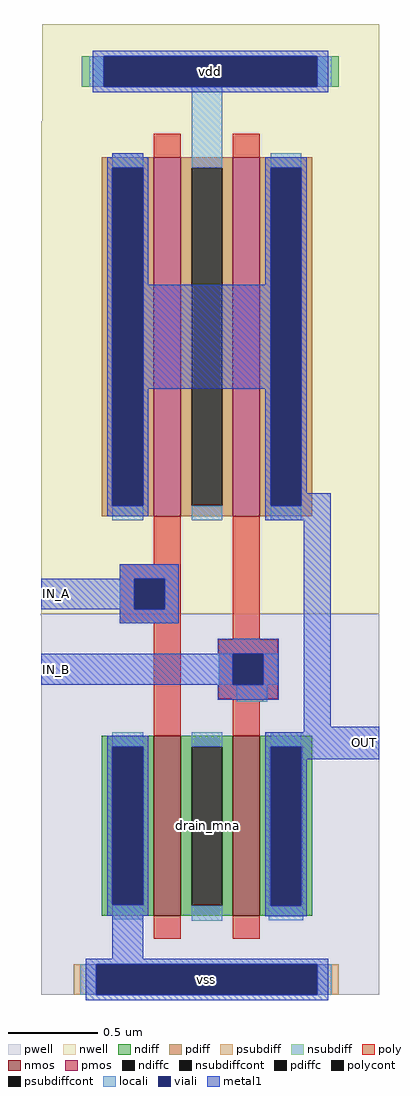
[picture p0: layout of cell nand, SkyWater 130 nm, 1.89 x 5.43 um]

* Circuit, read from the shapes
.subckt nand IN_A IN_B OUT vdd vss
XM1 drain_mna IN_A vss vss sky130_fd_pr__nfet_01v8 w=1 l=0.15
XM2 OUT IN_B drain_mna vss sky130_fd_pr__nfet_01v8 w=1 l=0.15
XM3 vdd IN_A OUT vdd sky130_fd_pr__pfet_01v8 w=2 l=0.15
XM4 OUT IN_B vdd vdd sky130_fd_pr__pfet_01v8 w=2 l=0.15
.ends

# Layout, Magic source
magic
tech sky130A
magscale 1 2
<< nwell >>
rect -1198 1512 -823 1620
rect -1199 964 -823 1512
<< pwell >>
rect -1200 962 -823 964
rect -1199 540 -823 962
<< nmos >>
rect -1074 628 -1044 828
rect -986 628 -956 828
<< ndiff >>
rect -1132 816 -1074 828
rect -1132 640 -1120 816
rect -1086 640 -1074 816
rect -1132 628 -1074 640
rect -1044 816 -986 828
rect -1044 639 -1032 816
rect -998 639 -986 816
rect -1044 628 -986 639
rect -956 816 -898 828
rect -956 639 -944 816
rect -910 639 -898 816
rect -956 628 -898 639
<< ndiffc >>
rect -1120 640 -1086 816
rect -1032 639 -998 816
rect -944 639 -910 816
<< psubdiff >>
rect -1163 540 -1138 574
rect -892 540 -868 574
<< nsubdiff >>
rect -1154 1550 -1130 1584
rect -892 1550 -868 1584
<< psubdiffcont >>
rect -1138 540 -892 574
<< nsubdiffcont >>
rect -1130 1550 -892 1584
<< poly >>
rect -1074 1019 -1044 1072
rect -1112 1003 -1044 1019
rect -1112 969 -1096 1003
rect -1062 969 -1044 1003
rect -1112 953 -1044 969
rect -1074 828 -1044 953
rect -986 935 -956 1072
rect -1002 919 -936 935
rect -1002 885 -986 919
rect -952 885 -936 919
rect -1002 869 -936 885
rect -986 866 -952 869
rect -986 828 -956 866
rect -1074 602 -1044 628
rect -986 602 -956 628
<< polycont >>
rect -1096 969 -1062 1003
rect -986 885 -952 919
<< locali >>
rect -1146 1550 -1130 1584
rect -892 1550 -876 1584
rect -1032 1460 -998 1550
rect -1112 1003 -1046 1019
rect -1112 969 -1096 1003
rect -1062 969 -1046 1003
rect -1112 953 -1046 969
rect -1002 885 -986 919
rect -952 885 -936 919
rect -982 866 -948 885
rect -1120 816 -1086 832
rect -1120 624 -1086 640
rect -1032 816 -998 832
rect -944 816 -910 832
rect -1032 622 -998 639
rect -946 639 -944 816
rect -910 639 -908 816
rect -946 623 -908 639
rect -1156 540 -1138 574
rect -892 540 -876 574
<< viali >>
rect -1130 1550 -892 1584
rect -1120 1084 -1086 1460
rect -944 1084 -910 1460
rect -1096 969 -1062 1003
rect -986 885 -952 919
rect -1120 640 -1086 816
rect -944 639 -910 816
rect -1138 540 -892 574
<< metal1 >>
rect -1142 1584 -880 1590
rect -1142 1550 -1130 1584
rect -892 1550 -880 1584
rect -1142 1544 -880 1550
rect -1120 1472 -1086 1476
rect -1126 1460 -1080 1472
rect -1126 1084 -1120 1460
rect -1086 1330 -1080 1460
rect -950 1460 -904 1472
rect -950 1330 -944 1460
rect -1086 1214 -944 1330
rect -1086 1084 -1080 1214
rect -1126 1072 -1080 1084
rect -950 1084 -944 1214
rect -910 1098 -904 1460
rect -910 1084 -877 1098
rect -950 1068 -877 1084
rect -1112 1003 -1046 1019
rect -1199 969 -1096 1003
rect -1062 969 -1046 1003
rect -1112 953 -1046 969
rect -1003 919 -935 936
rect -1199 885 -986 919
rect -952 885 -935 919
rect -1003 868 -935 885
rect -907 838 -877 1068
rect -907 832 -823 838
rect -1126 816 -1080 828
rect -1126 640 -1120 816
rect -1086 640 -1080 816
rect -1126 628 -1080 640
rect -950 816 -823 832
rect -950 639 -944 816
rect -910 802 -823 816
rect -910 639 -904 802
rect -1120 580 -1086 628
rect -950 627 -904 639
rect -1150 574 -880 580
rect -1150 540 -1138 574
rect -892 540 -880 574
rect -1150 534 -880 540
use sky130_fd_pr__pfet_01v8_7P3MHC  sky130_fd_pr__pfet_01v8_7P3MHC_1
transform -1 0 -972 0 1 1236
box -141 -200 138 276
use sky130_fd_pr__pfet_01v8_7P3MHC  sky130_fd_pr__pfet_01v8_7P3MHC_2
transform -1 0 -1060 0 1 1236
box -141 -200 138 276
<< labels >>
flabel metal1 -1199 885 -1165 919 3 FreeSans 160 0 0 0 IN_B
port 1 e default input
flabel metal1 -1138 540 -892 574 0 FreeSans 320 0 0 0 vss
port 4 nsew default bidirectional
flabel metal1 -1130 1550 -892 1584 0 FreeSans 320 0 0 0 vdd
port 3 nsew default bidirectional
flabel metal1 -1199 969 -1165 1003 3 FreeSans 160 0 0 0 IN_A
port 0 e default input
flabel ndiffc -1014 728 -1014 728 1 FreeSans 80 0 0 0 drain_mna
flabel metal1 -857 803 -823 837 7 FreeSans 160 0 0 0 OUT
port 2 w default output
<< end >>

# cell sky130_fd_pr__pfet_01v8_7P3MHC: kit device sky130_fd_pr__pfet_01v8, w 2.0 l 0.15 m 1 nf 1 diffcov 100 polycov 100 guard 1 glc 0 grc 0 gtc 1 gbc 0 tbcov 100 rlcov 100 topc 0 botc 1 poverlap 0 doverlap 1 lmin 0.15 wmin 0.42 compatible {sky130_fd_pr__pfet_01v8 sky130_fd_pr__pfet_01v8_lvt sky130_fd_pr__pfet_01v8_hvt sky130_fd_pr__pfet_g5v0d10v5} full_metal 0 viasrc 100 viadrn 100 viagate 100 viagb 0 viagr 0 viagl 0 viagt 0
